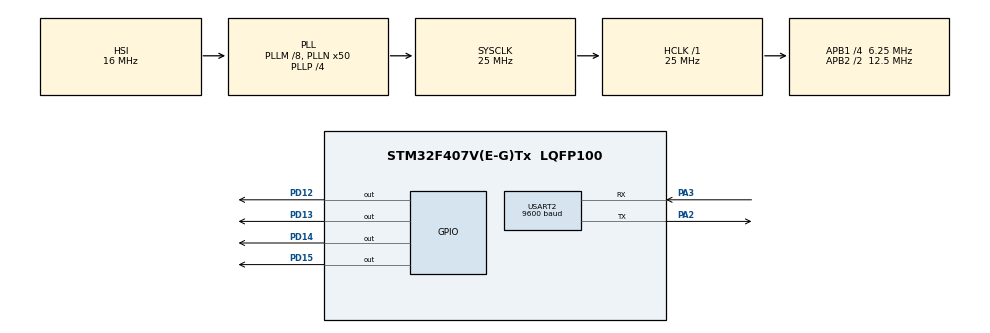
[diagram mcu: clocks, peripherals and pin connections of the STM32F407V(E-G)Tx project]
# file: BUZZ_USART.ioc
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Mcu.Family=STM32F4
Mcu.Name=STM32F407V(E-G)Tx
Mcu.Package=LQFP100
NVIC.PriorityGroup=NVIC_PRIORITYGROUP_0
PA2.Mode=Asynchronous
PA2.Signal=USART2_TX
PA3.Mode=Asynchronous
PA3.Signal=USART2_RX
PD12.Signal=GPIO_Output
PD13.Signal=GPIO_Output
PD14.Signal=GPIO_Output
PD15.Signal=GPIO_Output
ProjectManager.HeapSize=0x200
ProjectManager.StackSize=0x400
ProjectManager.TargetToolchain=STM32CubeIDE
RCC.48MHZClocksFreq_Value=14285714.285714285
RCC.AHBFreq_Value=25000000
RCC.APB1CLKDivider=RCC_HCLK_DIV4
RCC.APB1Freq_Value=6250000
RCC.APB1TimFreq_Value=12500000
RCC.APB2CLKDivider=RCC_HCLK_DIV2
RCC.APB2Freq_Value=12500000
RCC.APB2TimFreq_Value=25000000
RCC.CortexFreq_Value=25000000
RCC.HCLKFreq_Value=25000000
RCC.HSE_VALUE=8000000
RCC.HSI_VALUE=16000000
RCC.LSE_VALUE=32768
RCC.PLLM=8
RCC.PLLN=50
RCC.PLLP=RCC_PLLP_DIV4
RCC.PLLQ=7
RCC.SYSCLKFreq_VALUE=25000000
RCC.SYSCLKSource=RCC_SYSCLKSOURCE_PLLCLK
RCC.VCOOutputFreq_Value=100000000
USART2.BaudRate=9600
USART2.VirtualMode=VM_ASYNC
board=STM32F407G-DISC1

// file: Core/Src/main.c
/* USER CODE BEGIN Header */
/**
  ******************************************************************************
  * @file           : main.c
  * @brief          : Main program body
  ******************************************************************************
  * @attention
  *
  * Copyright (c) 2025 STMicroelectronics.
  * All rights reserved.
  *
  * This software is licensed under terms that can be found in the LICENSE file
  * in the root directory of this software component.
  * If no LICENSE file comes with this software, it is provided AS-IS.
  *
  ******************************************************************************
  */
/* USER CODE END Header */
#include "main.h"

UART_HandleTypeDef huart2;

void SystemClock_Config(void);
static void MX_GPIO_Init(void);
static void MX_USART2_UART_Init(void);

/* USER CODE BEGIN 0 */
char rx_Buffer[20];
uint8_t rxChar;
uint8_t rx_index = 0;
/* USER CODE END 0 */

int main(void)
{

  /* MCU Configuration--------------------------------------------------------*/

  /* Reset of all peripherals, Initializes the Flash interface and the Systick. */
  HAL_Init();

  /* Configure the system clock */
  SystemClock_Config();

  /* Initialize all configured peripherals */
  MX_GPIO_Init();
  MX_USART2_UART_Init();
  /* USER CODE BEGIN 2 */
  char msg0[]="hello\r\n";
  HAL_UART_Transmit(&huart2, (uint8_t*)msg0, strlen(msg0), HAL_MAX_DELAY);
  /* USER CODE END 2 */

  /* Infinite loop */
  while (1)
  {

    /* USER CODE BEGIN 3 */
	  HAL_UART_Receive(&huart2, &rxChar, 1, HAL_MAX_DELAY);

		      HAL_UART_Transmit(&huart2, &rxChar, 1, HAL_MAX_DELAY);

		      /* Check for Enter key */
		      if (rxChar == '\r')
		      {
		          rx_Buffer[rx_index] = '\0';   // Null terminate string
		          char msg1[] = "\r\nYou sent: ";
		          	        HAL_UART_Transmit(&huart2, (uint8_t*)msg1, strlen(msg1), HAL_MAX_DELAY);
		          	            HAL_UART_Transmit(&huart2, (uint8_t*)rx_Buffer, strlen(rx_Buffer), HAL_MAX_DELAY);
		          /* Compare received command */
		          if (strcmp(rx_Buffer, "LED ON") == 0)
		          {
		              HAL_GPIO_WritePin(GPIOD, GPIO_PIN_14,GPIO_PIN_SET);
		              HAL_Delay(500);
		          }

		          else if (strcmp(rx_Buffer, "LED_OFF") == 0)
		          {
		        	  HAL_GPIO_WritePin(GPIOD, GPIO_PIN_14,GPIO_PIN_RESET);
		              HAL_Delay(500);
		          }
		          else
		          {
		              char msg[] = "Invalid Command\r\n";
		              HAL_UART_Transmit(&huart2, (uint8_t*)msg, strlen(msg), HAL_MAX_DELAY);
		          }

		          /* Reset buffer */
		          rx_index = 0;

		      }
		      else
		      {
		          /* Store received character */
		          rx_Buffer[rx_index++] = rxChar;

		          /* Prevent buffer overflow */
		          if (rx_index >= sizeof(rx_Buffer))
		          {
		              rx_index = 0;
		          }
		      }
		  }

  /* USER CODE END 3 */
}

void SystemClock_Config(void)
{
  RCC_OscInitTypeDef RCC_OscInitStruct = {0};
  RCC_ClkInitTypeDef RCC_ClkInitStruct = {0};

  /** Configure the main internal regulator output voltage
  */
  __HAL_RCC_PWR_CLK_ENABLE();
  __HAL_PWR_VOLTAGESCALING_CONFIG(PWR_REGULATOR_VOLTAGE_SCALE1);

  /** Initializes the RCC Oscillators according to the specified parameters
  * in the RCC_OscInitTypeDef structure.
  */
  RCC_OscInitStruct.OscillatorType = RCC_OSCILLATORTYPE_HSI;
  RCC_OscInitStruct.HSIState = RCC_HSI_ON;
  RCC_OscInitStruct.HSICalibrationValue = RCC_HSICALIBRATION_DEFAULT;
  RCC_OscInitStruct.PLL.PLLState = RCC_PLL_ON;
  RCC_OscInitStruct.PLL.PLLSource = RCC_PLLSOURCE_HSI;
  RCC_OscInitStruct.PLL.PLLM = 8;
  RCC_OscInitStruct.PLL.PLLN = 50;
  RCC_OscInitStruct.PLL.PLLP = RCC_PLLP_DIV4;
  RCC_OscInitStruct.PLL.PLLQ = 7;
  if (HAL_RCC_OscConfig(&RCC_OscInitStruct) != HAL_OK)
  {
    Error_Handler();
  }

  /** Initializes the CPU, AHB and APB buses clocks
  */
  RCC_ClkInitStruct.ClockType = RCC_CLOCKTYPE_HCLK|RCC_CLOCKTYPE_SYSCLK
                              |RCC_CLOCKTYPE_PCLK1|RCC_CLOCKTYPE_PCLK2;
  RCC_ClkInitStruct.SYSCLKSource = RCC_SYSCLKSOURCE_PLLCLK;
  RCC_ClkInitStruct.AHBCLKDivider = RCC_SYSCLK_DIV1;
  RCC_ClkInitStruct.APB1CLKDivider = RCC_HCLK_DIV4;
  RCC_ClkInitStruct.APB2CLKDivider = RCC_HCLK_DIV2;

  if (HAL_RCC_ClockConfig(&RCC_ClkInitStruct, FLASH_LATENCY_0) != HAL_OK)
  {
    Error_Handler();
  }
}

static void MX_USART2_UART_Init(void)
{

  huart2.Instance = USART2;
  huart2.Init.BaudRate = 9600;
  huart2.Init.WordLength = UART_WORDLENGTH_8B;
  huart2.Init.StopBits = UART_STOPBITS_1;
  huart2.Init.Parity = UART_PARITY_NONE;
  huart2.Init.Mode = UART_MODE_TX_RX;
  huart2.Init.HwFlowCtl = UART_HWCONTROL_NONE;
  huart2.Init.OverSampling = UART_OVERSAMPLING_16;
  if (HAL_UART_Init(&huart2) != HAL_OK)
  {
    Error_Handler();
  }

}

static void MX_GPIO_Init(void)
{
  GPIO_InitTypeDef GPIO_InitStruct = {0};

  /* GPIO Ports Clock Enable */
  __HAL_RCC_GPIOA_CLK_ENABLE();
  __HAL_RCC_GPIOD_CLK_ENABLE();

  /*Configure GPIO pin Output Level */
  HAL_GPIO_WritePin(GPIOD, GPIO_PIN_12|GPIO_PIN_13|GPIO_PIN_14|GPIO_PIN_15, GPIO_PIN_RESET);

  /*Configure GPIO pins : PD12 PD13 PD14 PD15 */
  GPIO_InitStruct.Pin = GPIO_PIN_12|GPIO_PIN_13|GPIO_PIN_14|GPIO_PIN_15;
  GPIO_InitStruct.Mode = GPIO_MODE_OUTPUT_PP;
  GPIO_InitStruct.Pull = GPIO_NOPULL;
  GPIO_InitStruct.Speed = GPIO_SPEED_FREQ_LOW;
  HAL_GPIO_Init(GPIOD, &GPIO_InitStruct);

}

void Error_Handler(void)
{
  __disable_irq();
  while (1)
  {
  }
}
